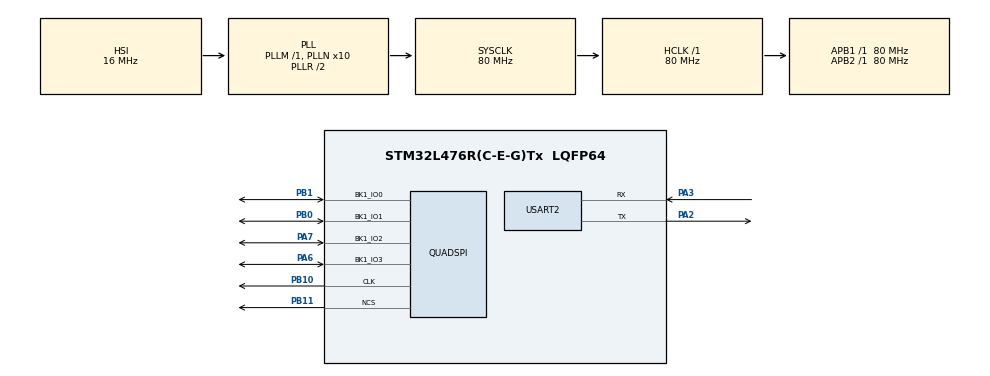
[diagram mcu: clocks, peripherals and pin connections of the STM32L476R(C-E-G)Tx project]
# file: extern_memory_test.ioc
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Mcu.Family=STM32L4
Mcu.Name=STM32L476R(C-E-G)Tx
Mcu.Package=LQFP64
NVIC.PriorityGroup=NVIC_PRIORITYGROUP_4
PA2.Mode=Asynchronous
PA2.Signal=USART2_TX
PA3.Mode=Asynchronous
PA3.Signal=USART2_RX
PA6.Mode=Single Bank
PA6.Signal=QUADSPI_BK1_IO3
PA7.Mode=Single Bank
PA7.Signal=QUADSPI_BK1_IO2
PB0.Mode=Single Bank
PB0.Signal=QUADSPI_BK1_IO1
PB1.Mode=Single Bank
PB1.Signal=QUADSPI_BK1_IO0
PB10.Mode=Single Bank
PB10.Signal=QUADSPI_CLK
PB11.Mode=Single Bank
PB11.Signal=QUADSPI_NCS
PB3\ (JTDO-TRACESWO).Signal=SPI1_SCK
PC14-OSC32_IN\ (PC14).Mode=LSE-External-Oscillator
PC14-OSC32_IN\ (PC14).Signal=RCC_OSC32_IN
PC15-OSC32_OUT\ (PC15).Mode=LSE-External-Oscillator
PC15-OSC32_OUT\ (PC15).Signal=RCC_OSC32_OUT
PH0-OSC_IN\ (PH0).Mode=HSE-External-Oscillator
PH0-OSC_IN\ (PH0).Signal=RCC_OSC_IN
PH1-OSC_OUT\ (PH1).Mode=HSE-External-Oscillator
PH1-OSC_OUT\ (PH1).Signal=RCC_OSC_OUT
ProjectManager.HeapSize=0x200
ProjectManager.StackSize=0x400
ProjectManager.TargetToolchain=Makefile
QUADSPI.ChipSelectHighTime-Single\ Bank=QSPI_CS_HIGH_TIME_3_CYCLE
QUADSPI.ClockPrescaler-Single\ Bank=0
QUADSPI.FifoThreshold-Single\ Bank=8
QUADSPI.FlashSize-Single\ Bank=25
QUADSPI.SampleShifting-Single\ Bank=QSPI_SAMPLE_SHIFTING_HALFCYCLE
RCC.ADCFreq_Value=64000000
RCC.AHBFreq_Value=80000000
RCC.APB1Freq_Value=80000000
RCC.APB1TimFreq_Value=80000000
RCC.APB2Freq_Value=80000000
RCC.APB2TimFreq_Value=80000000
RCC.CortexFreq_Value=80000000
RCC.HCLKFreq_Value=80000000
RCC.HSE_VALUE=16000000
RCC.HSI_VALUE=16000000
RCC.MSI_VALUE=4000000
RCC.PLLN=10
RCC.PLLSourceVirtual=RCC_PLLSOURCE_HSE
RCC.SYSCLKFreq_VALUE=80000000
RCC.SYSCLKSource=RCC_SYSCLKSOURCE_PLLCLK
RCC.USBFreq_Value=64000000
RCC.VCOOutputFreq_Value=160000000
USART2.VirtualMode-Asynchronous=VM_ASYNC
board=custom

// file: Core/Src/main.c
/* USER CODE BEGIN Header */
/**
  ******************************************************************************
  * @file           : main.c
  * @brief          : Main program body
  ******************************************************************************
  * @attention
  *
  * <h2><center>&copy; Copyright (c) 2021 STMicroelectronics.
  * All rights reserved.</center></h2>
  *
  * This software component is licensed by ST under BSD 3-Clause license,
  * the "License"; You may not use this file except in compliance with the
  * License. You may obtain a copy of the License at:
  *                        opensource.org/licenses/BSD-3-Clause
  *
  ******************************************************************************
  */
/* USER CODE END Header */
#include "main.h"
#include "test.h"
#include "command_set.h"
#include <stdio.h>
#include <string.h>
/* USER CODE BEGIN Includes */
int _write(int fd, char *pBuffer, int size)
{
    for (int i = 0; i < size; i++)
    {
        ITM_SendChar(pBuffer[i]);
    }
    return size;
}
/* USER CODE END Includes */

QSPI_HandleTypeDef hqspi;

UART_HandleTypeDef huart2;

/* USER CODE BEGIN PV */
uint32_t Q_WRITE_DUMMY_CYCLES = 4;
/* USER CODE END PV */

void SystemClock_Config(void);
static void MX_GPIO_Init(void);
static void MX_QUADSPI_Init(void);
static void MX_USART2_UART_Init(void);
void set_polling_config_WEL(QSPI_AutoPollingTypeDef *pollingConfig);
void check_status_register(QSPI_AutoPollingTypeDef *pollingConfig);
void set_polling_config_QE(QSPI_AutoPollingTypeDef *pollingConfig);

/* USER CODE BEGIN 0 */
void WREN()
{
    QSPI_CommandTypeDef command;
    command.InstructionMode = QSPI_INSTRUCTION_1_LINE;
    command.DdrMode = QSPI_DDR_MODE_DISABLE;
    command.DdrHoldHalfCycle = QSPI_DDR_HHC_ANALOG_DELAY;
    command.SIOOMode = QSPI_SIOO_INST_EVERY_CMD;

    command.Instruction = WRITE_ENABLE;
    command.Address = 0;
    command.AddressSize = 0;
    command.AddressMode = QSPI_ADDRESS_NONE;
    command.AlternateByteMode = QSPI_ALTERNATE_BYTES_NONE;
    command.AlternateBytesSize = 0;
    command.AlternateBytes = 0;
    command.DummyCycles = 0;
    command.DataMode = QSPI_DATA_NONE;
    command.NbData = 0;

    if (HAL_QSPI_Command(&hqspi, &command, HAL_QSPI_TIMEOUT_DEFAULT_VALUE) != HAL_OK)
    {
        Error_Handler();
    }
}

uint8_t RDSR()
{
    QSPI_CommandTypeDef command;
    command.InstructionMode = QSPI_INSTRUCTION_1_LINE;
    command.DdrMode = QSPI_DDR_MODE_DISABLE;
    command.DdrHoldHalfCycle = QSPI_DDR_HHC_ANALOG_DELAY;
    command.SIOOMode = QSPI_SIOO_INST_EVERY_CMD;

    command.Instruction = READ_STATUS_REG;
    command.Address = 0;
    command.AddressSize = 0;
    command.AddressMode = QSPI_ADDRESS_NONE;
    command.AlternateByteMode = QSPI_ALTERNATE_BYTES_NONE;
    command.AlternateBytesSize = 0;
    command.AlternateBytes = 0;
    command.DummyCycles = 0;
    command.DataMode = QSPI_DATA_1_LINE;
    command.NbData = 1;

    if (HAL_QSPI_Command(&hqspi, &command, HAL_QSPI_TIMEOUT_DEFAULT_VALUE) != HAL_OK)
    {
        Error_Handler();
    }

    uint8_t readReg = 0;
    if (HAL_QSPI_Receive(&hqspi, &readReg, HAL_QSPI_TIMEOUT_DEFAULT_VALUE) != HAL_OK)
    {
        Error_Handler();
    }
    return readReg;
}

void RDCR(uint8_t* configReg1, uint8_t* configReg2)
{
    QSPI_CommandTypeDef command;
    command.InstructionMode = QSPI_INSTRUCTION_1_LINE;
    command.DdrMode = QSPI_DDR_MODE_DISABLE;
    command.DdrHoldHalfCycle = QSPI_DDR_HHC_ANALOG_DELAY;
    command.SIOOMode = QSPI_SIOO_INST_EVERY_CMD;

    command.Instruction = READ_CONF_STATUS_REG;
    command.Address = 0;
    command.AddressSize = 0;
    command.AddressMode = QSPI_ADDRESS_NONE;
    command.AlternateByteMode = QSPI_ALTERNATE_BYTES_NONE;
    command.AlternateBytesSize = 0;
    command.AlternateBytes = 0;
    command.DummyCycles = 0;
    command.DataMode = QSPI_DATA_1_LINE;
    command.NbData = 2;

    if (HAL_QSPI_Command(&hqspi, &command, HAL_QSPI_TIMEOUT_DEFAULT_VALUE) != HAL_OK)
    {
        Error_Handler();
    }

    uint8_t configReg[2] = {0};
    if (HAL_QSPI_Receive(&hqspi, configReg, HAL_QSPI_TIMEOUT_DEFAULT_VALUE) != HAL_OK)
    {
        Error_Handler();
    }
    *configReg1 = configReg[0];
    *configReg2 = configReg[1];
}

void HpmDisable()
{
    QSPI_CommandTypeDef command;
    command.InstructionMode = QSPI_INSTRUCTION_1_LINE;
    command.DdrMode = QSPI_DDR_MODE_DISABLE;
    command.DdrHoldHalfCycle = QSPI_DDR_HHC_ANALOG_DELAY;
    command.SIOOMode = QSPI_SIOO_INST_EVERY_CMD;

    command.Instruction = WRITE_STATUS_REG;
    command.Address = 0;
    command.AddressSize = 0;
    command.AddressMode = QSPI_ADDRESS_NONE;
    command.AlternateByteMode = QSPI_ALTERNATE_BYTES_NONE;
    command.AlternateBytesSize = 0;
    command.AlternateBytes = 0;
    command.DummyCycles = 0;
    command.DataMode = QSPI_DATA_1_LINE;
    command.NbData = 1;

    uint8_t readReg = RDSR();

    if (HAL_QSPI_Command(&hqspi, &command, HAL_QSPI_TIMEOUT_DEFAULT_VALUE) != HAL_OK)
    {
        Error_Handler();
    }

    uint8_t reg = (readReg & 0b01111111) | 0b00000000;
    HAL_GPIO_WritePin(GPIOA, GPIO_PIN_6, GPIO_PIN_SET);
    HAL_GPIO_WritePin(GPIOA, GPIO_PIN_7, GPIO_PIN_SET);
    if (HAL_QSPI_Transmit(&hqspi, &reg, HAL_QSPI_TIMEOUT_DEFAULT_VALUE) != HAL_OK)
    {
        Error_Handler();
    }
}
void quad_enable()
{
    QSPI_CommandTypeDef command;
    command.InstructionMode = QSPI_INSTRUCTION_1_LINE;
    command.DdrMode = QSPI_DDR_MODE_DISABLE;
    command.DdrHoldHalfCycle = QSPI_DDR_HHC_ANALOG_DELAY;
    command.SIOOMode = QSPI_SIOO_INST_EVERY_CMD;

    command.Instruction = WRITE_STATUS_REG;
    command.Address = 0;
    command.AddressSize = 0;
    command.AddressMode = QSPI_ADDRESS_NONE;
    command.AlternateByteMode = QSPI_ALTERNATE_BYTES_NONE;
    command.AlternateBytesSize = 0;
    command.AlternateBytes = 0;
    command.DummyCycles = 0;
    command.DataMode = QSPI_DATA_1_LINE;
    command.NbData = 1;

    uint8_t readReg = RDSR();

    WREN();

    QSPI_AutoPollingTypeDef autoPollingConfig;
    set_polling_config_WEL(&autoPollingConfig);
    check_status_register(&autoPollingConfig);

    if (HAL_QSPI_Command(&hqspi, &command, HAL_QSPI_TIMEOUT_DEFAULT_VALUE) != HAL_OK)
    {
        Error_Handler();
    }

    uint8_t reg = (readReg & 0b10111111) | 0b01000000;
    if (HAL_QSPI_Transmit(&hqspi, &reg, HAL_QSPI_TIMEOUT_DEFAULT_VALUE) != HAL_OK)
    {
        Error_Handler();
    }

    set_polling_config_QE(&autoPollingConfig);
    check_status_register(&autoPollingConfig);

}
void MPBClear()
{
    QSPI_CommandTypeDef command;
    command.InstructionMode = QSPI_INSTRUCTION_1_LINE;
    command.DdrMode = QSPI_DDR_MODE_DISABLE;
    command.DdrHoldHalfCycle = QSPI_DDR_HHC_ANALOG_DELAY;
    command.SIOOMode = QSPI_SIOO_INST_EVERY_CMD;

    command.Instruction = WRITE_STATUS_REG;
    command.Address = 0;
    command.AddressSize = 0;
    command.AddressMode = QSPI_ADDRESS_NONE;
    command.AlternateByteMode = QSPI_ALTERNATE_BYTES_NONE;
    command.AlternateBytesSize = 0;
    command.AlternateBytes = 0;
    command.DummyCycles = 0;
    command.DataMode = QSPI_DATA_1_LINE;
    command.NbData = 1;

    uint8_t readReg = RDSR();

    if (HAL_QSPI_Command(&hqspi, &command, HAL_QSPI_TIMEOUT_DEFAULT_VALUE) != HAL_OK)
    {
        Error_Handler();
    }

    uint8_t reg = (readReg & 0b11000011) | 0b00000000;
    if (HAL_QSPI_Transmit(&hqspi, &reg, HAL_QSPI_TIMEOUT_DEFAULT_VALUE) != HAL_OK)
    {
        Error_Handler();
    }
}
void WRCR(uint8_t configReg1, uint8_t configReg2)
{
    QSPI_CommandTypeDef command;
    command.InstructionMode = QSPI_INSTRUCTION_1_LINE;
    command.DdrMode = QSPI_DDR_MODE_DISABLE;
    command.DdrHoldHalfCycle = QSPI_DDR_HHC_ANALOG_DELAY;
    command.SIOOMode = QSPI_SIOO_INST_EVERY_CMD;

    command.Instruction = WRITE_STATUS_REG;
    command.Address = 0;
    command.AddressSize = 0;
    command.AddressMode = QSPI_ADDRESS_NONE;
    command.AlternateByteMode = QSPI_ALTERNATE_BYTES_NONE;
    command.AlternateBytesSize = 0;
    command.AlternateBytes = 0;
    command.DummyCycles = 0;
    command.DataMode = QSPI_DATA_1_LINE;
    command.NbData = 3;

    uint8_t statusReg = RDSR();

    if (HAL_QSPI_Command(&hqspi, &command, HAL_QSPI_TIMEOUT_DEFAULT_VALUE) != HAL_OK)
    {
        Error_Handler();
    }

    uint8_t inputReg[3] = {statusReg, configReg1, configReg2};
    if (HAL_QSPI_Transmit(&hqspi, inputReg, HAL_QSPI_TIMEOUT_DEFAULT_VALUE) != HAL_OK)
    {
        Error_Handler();
    }
}
// status reg SRWD|QE|BP3|BP2|BP1|BP0|WEL|WIP
void set_polling_config_WEL(QSPI_AutoPollingTypeDef *pollingConfig)
{
    pollingConfig->Match = 0x02;
    pollingConfig->Mask = 0x02;
    pollingConfig->Interval = 1;
    pollingConfig->StatusBytesSize = 1;
    pollingConfig->MatchMode = QSPI_MATCH_MODE_AND;
    pollingConfig->AutomaticStop = QSPI_AUTOMATIC_STOP_ENABLE;
}

// status reg SRWD|QE|BP3|BP2|BP1|BP0|WEL|WIP
void set_polling_config_WIP(QSPI_AutoPollingTypeDef *pollingConfig)
{
    pollingConfig->Match = 0x00;
    pollingConfig->Mask = 0x01;
    pollingConfig->Interval = 1;
    pollingConfig->StatusBytesSize = 1;
    pollingConfig->MatchMode = QSPI_MATCH_MODE_AND;
    pollingConfig->AutomaticStop = QSPI_AUTOMATIC_STOP_ENABLE;
}

// status reg SRWD|QE|BP3|BP2|BP1|BP0|WEL|WIP
void set_polling_config_SRWD(QSPI_AutoPollingTypeDef *pollingConfig)
{
    pollingConfig->Match = 0x00;
    pollingConfig->Mask = 0x80;
    pollingConfig->Interval = 1;
    pollingConfig->StatusBytesSize = 1;
    pollingConfig->MatchMode = QSPI_MATCH_MODE_AND;
    pollingConfig->AutomaticStop = QSPI_AUTOMATIC_STOP_ENABLE;
}

// status reg SRWD|QE|BP3|BP2|BP1|BP0|WEL|WIP
void set_polling_config_QE(QSPI_AutoPollingTypeDef *pollingConfig)
{
    pollingConfig->Match = 0x40;
    pollingConfig->Mask = 0x40;
    pollingConfig->Interval = 1;
    pollingConfig->StatusBytesSize = 1;
    pollingConfig->MatchMode = QSPI_MATCH_MODE_AND;
    pollingConfig->AutomaticStop = QSPI_AUTOMATIC_STOP_ENABLE;
}

void check_status_register(QSPI_AutoPollingTypeDef *pollingConfig)
{
    QSPI_CommandTypeDef command;
    command.InstructionMode = QSPI_INSTRUCTION_1_LINE;
    command.DdrMode = QSPI_DDR_MODE_DISABLE;
    command.DdrHoldHalfCycle = QSPI_DDR_HHC_ANALOG_DELAY;
    command.SIOOMode = QSPI_SIOO_INST_EVERY_CMD;

    command.Instruction = READ_STATUS_REG;
    command.Address = 0;
    command.AddressSize = 0;
    command.AddressMode = QSPI_ADDRESS_NONE;
    command.AlternateByteMode = QSPI_ALTERNATE_BYTES_NONE;
    command.AlternateBytesSize = 0;
    command.AlternateBytes = 0;
    command.DummyCycles = 0;
    command.DataMode = QSPI_DATA_1_LINE;
    command.NbData = 0;

    if (HAL_QSPI_AutoPolling(&hqspi, &command, pollingConfig, HAL_QSPI_TIMEOUT_DEFAULT_VALUE) != HAL_OK)
    {
        Error_Handler();
    }
}

// sector erase
void SE(uint32_t address)
{
    QSPI_CommandTypeDef command;
    command.InstructionMode = QSPI_INSTRUCTION_1_LINE;
    command.DdrMode = QSPI_DDR_MODE_DISABLE;
    command.DdrHoldHalfCycle = QSPI_DDR_HHC_ANALOG_DELAY;
    command.SIOOMode = QSPI_SIOO_INST_EVERY_CMD;

    command.Instruction = SECTOR_ERASE;
    command.Address = address;
    command.AddressSize = QSPI_ADDRESS_24_BITS;
    command.AddressMode = QSPI_ADDRESS_1_LINE;
    command.AlternateByteMode = QSPI_ALTERNATE_BYTES_NONE;
    command.AlternateBytesSize = 0;
    command.AlternateBytes = 0;
    command.DummyCycles = 0;
    command.DataMode = QSPI_DATA_NONE;
    command.NbData = 0;

    if (HAL_QSPI_Command(&hqspi, &command, HAL_QSPI_TIMEOUT_DEFAULT_VALUE) != HAL_OK)
    {
        Error_Handler();
    }
}

void PP(uint32_t address, uint8_t *data, uint32_t dataSize)
{
    QSPI_CommandTypeDef command;
    command.InstructionMode = QSPI_INSTRUCTION_1_LINE;
    command.DdrMode = QSPI_DDR_MODE_DISABLE;
    command.DdrHoldHalfCycle = QSPI_DDR_HHC_ANALOG_DELAY;
    command.SIOOMode = QSPI_SIOO_INST_EVERY_CMD;

    command.Instruction = QUAL_PAGE_PROGRAM;
    command.Address = address;
    command.AddressSize = QSPI_ADDRESS_24_BITS;
    command.AddressMode = QSPI_ADDRESS_4_LINES;
    command.AlternateByteMode = QSPI_ALTERNATE_BYTES_NONE;
    command.AlternateBytesSize = 0;
    command.AlternateBytes = 0;
    command.DummyCycles = 0;
    command.DataMode = QSPI_DATA_4_LINES;
    command.NbData = dataSize;

    if (HAL_QSPI_Command(&hqspi, &command, HAL_QSPI_TIMEOUT_DEFAULT_VALUE) != HAL_OK)
    {
        Error_Handler();
    }

    if (HAL_QSPI_Transmit(&hqspi, data, HAL_QSPI_TIMEOUT_DEFAULT_VALUE) != HAL_OK)
    {
        Error_Handler();
    }
}

void FREAD(uint32_t address, uint8_t *data, uint32_t dataSize)
{
    QSPI_CommandTypeDef command;
    command.InstructionMode = QSPI_INSTRUCTION_1_LINE;
    command.DdrMode = QSPI_DDR_MODE_DISABLE;
    command.DdrHoldHalfCycle = QSPI_DDR_HHC_ANALOG_DELAY;
    command.SIOOMode = QSPI_SIOO_INST_EVERY_CMD;

    command.Instruction = FOUR_READ;
    command.Address = address;
    command.AddressSize = QSPI_ADDRESS_24_BITS;
    command.AddressMode = QSPI_ADDRESS_4_LINES;
    command.AlternateByteMode = QSPI_ALTERNATE_BYTES_4_LINES;
    command.AlternateBytesSize = QSPI_ALTERNATE_BYTES_8_BITS;
    command.AlternateBytes = 0xf0;
    command.DummyCycles = Q_WRITE_DUMMY_CYCLES;
    command.DataMode = QSPI_DATA_4_LINES;
    command.NbData = dataSize;

    if (HAL_QSPI_Command(&hqspi, &command, HAL_QSPI_TIMEOUT_DEFAULT_VALUE) != HAL_OK)
    {
        Error_Handler();
    }

    if (HAL_QSPI_Receive(&hqspi, data, HAL_QSPI_TIMEOUT_DEFAULT_VALUE) != HAL_OK)
    {
        Error_Handler();
    }
}
/* USER CODE END 0 */

int main(void)
{

    /* MCU Configuration--------------------------------------------------------*/

    /* Reset of all peripherals, Initializes the Flash interface and the Systick. */
    HAL_Init();

    /* Configure the system clock */
    SystemClock_Config();

    /* Initialize all configured peripherals */
    MX_GPIO_Init();
    MX_QUADSPI_Init();
    MX_USART2_UART_Init();

    QSPI_AutoPollingTypeDef autoPollingConfig;
    uint8_t statusReg = RDSR();
    uint8_t configReg1 = 0;
    uint8_t configReg2 = 0;
    RDCR(&configReg1, &configReg2);
    // memory go into hardware protected mode(HDM), disable HDM
    if (statusReg & 0b10000000) {
        WREN();
        set_polling_config_WEL(&autoPollingConfig);
        check_status_register(&autoPollingConfig);

        HpmDisable();
        statusReg = RDSR();
    }
    // block is
    if (statusReg & 0b00111100) {
        WREN();
        set_polling_config_WEL(&autoPollingConfig);
        check_status_register(&autoPollingConfig);
        MPBClear();
        statusReg = RDSR();
    }
    if ((configReg1 & 0b01000000) == 0) {
        WREN();
        set_polling_config_WEL(&autoPollingConfig);
        check_status_register(&autoPollingConfig);
        WRCR((configReg1 & 0b01000000) | 0b01000000, configReg2); // dummy cycle = 6 = 2 + 4
        RDCR(&configReg1, &configReg2);
    }
    if ((configReg2 & 0b00000010) == 0) {
        WREN();
        set_polling_config_WEL(&autoPollingConfig);
        check_status_register(&autoPollingConfig);
        WRCR(configReg1, (configReg2 & 0b00000010) | 0b00000010); // hight profermence mode
        HAL_Delay(30);
        RDCR(&configReg1, &configReg2);
    }
    if ((configReg1 & 0b01000000) != 0) {
        Q_WRITE_DUMMY_CYCLES = 8;
    } else {
        Q_WRITE_DUMMY_CYCLES = 4;
    }

    printf("status reg is now:%x\n", statusReg);

    quad_enable();
    statusReg = RDSR();
    printf("status reg quad enable is now:%x\n", statusReg);
    RDCR(&configReg1, &configReg2);
    printf("config reg1 %x, reg2 %x", configReg1, configReg2);
    int writeTest = 0;
    if (writeTest == 1) {
        WREN();
        set_polling_config_WEL(&autoPollingConfig);
        check_status_register(&autoPollingConfig);

        SE(0x123456);
        set_polling_config_WIP(&autoPollingConfig);
        check_status_register(&autoPollingConfig);

        WREN();
        set_polling_config_WEL(&autoPollingConfig);
        check_status_register(&autoPollingConfig);

        uint8_t testData[] = "another test data data 3";
        PP(0x123456, testData, sizeof(testData));
        set_polling_config_WIP(&autoPollingConfig);
        check_status_register(&autoPollingConfig);
    } else {
        printf("write disable\n");
    }
    char t = get_test_char(0);
    uint8_t outData[255] = {0};
    FREAD(0x123456, outData, sizeof(outData) - 1);
    printf("read data:%s\n", outData);

    /* Infinite loop */
    /* USER CODE BEGIN WHILE */
    while (1)
    {
        // memset(outData, 0, sizeof(outData));
        // FREAD(0x123456, outData, sizeof(outData) - 1);
        // printf("output data\n");
        // printf("read data:%s\n", outData);
        // HAL_Delay(1000);
    }
}

void SystemClock_Config(void)
{
    RCC_OscInitTypeDef RCC_OscInitStruct = {0};
    RCC_ClkInitTypeDef RCC_ClkInitStruct = {0};
    RCC_PeriphCLKInitTypeDef PeriphClkInit = {0};

    /** Initializes the RCC Oscillators according to the specified parameters
  * in the RCC_OscInitTypeDef structure.
  */
    RCC_OscInitStruct.OscillatorType = RCC_OSCILLATORTYPE_HSI;
    RCC_OscInitStruct.HSIState = RCC_HSI_ON;
    RCC_OscInitStruct.PLL.PLLState = RCC_PLL_ON;
    RCC_OscInitStruct.PLL.PLLSource = RCC_PLLSOURCE_HSI;
    RCC_OscInitStruct.PLL.PLLM = 1;
    RCC_OscInitStruct.PLL.PLLN = 10;
    RCC_OscInitStruct.PLL.PLLP = RCC_PLLP_DIV7;
    RCC_OscInitStruct.PLL.PLLQ = RCC_PLLQ_DIV2;
    RCC_OscInitStruct.PLL.PLLR = RCC_PLLR_DIV2;
    if (HAL_RCC_OscConfig(&RCC_OscInitStruct) != HAL_OK)
    {
        Error_Handler();
    }
    /** Initializes the CPU, AHB and APB buses clocks
  */
    RCC_ClkInitStruct.ClockType = RCC_CLOCKTYPE_HCLK | RCC_CLOCKTYPE_SYSCLK | RCC_CLOCKTYPE_PCLK1 | RCC_CLOCKTYPE_PCLK2;
    RCC_ClkInitStruct.SYSCLKSource = RCC_SYSCLKSOURCE_PLLCLK;
    RCC_ClkInitStruct.AHBCLKDivider = RCC_SYSCLK_DIV1;
    RCC_ClkInitStruct.APB1CLKDivider = RCC_HCLK_DIV1;
    RCC_ClkInitStruct.APB2CLKDivider = RCC_HCLK_DIV1;

    if (HAL_RCC_ClockConfig(&RCC_ClkInitStruct, FLASH_LATENCY_4) != HAL_OK)
    {
        Error_Handler();
    }
    PeriphClkInit.PeriphClockSelection = RCC_PERIPHCLK_USART2;
    PeriphClkInit.Usart2ClockSelection = RCC_USART2CLKSOURCE_PCLK1;
    if (HAL_RCCEx_PeriphCLKConfig(&PeriphClkInit) != HAL_OK)
    {
        Error_Handler();
    }
    HAL_RCC_MCOConfig(RCC_MCO1, RCC_MCO1SOURCE_SYSCLK, RCC_MCODIV_1);
    /** Configure the main internal regulator output voltage
  */
    if (HAL_PWREx_ControlVoltageScaling(PWR_REGULATOR_VOLTAGE_SCALE1) != HAL_OK)
    {
        Error_Handler();
    }
}

static void MX_QUADSPI_Init(void)
{

    /* QUADSPI parameter configuration*/
    hqspi.Instance = QUADSPI;
    hqspi.Init.ClockPrescaler = 1;                              // ClockPrescaler = 0,QSPI clock = FAHB / 1 = 80MHz / 1 = 80MHz
    hqspi.Init.FifoThreshold = 1;                               // FIFO when 8 more bytes written or read
    hqspi.Init.SampleShifting = QSPI_SAMPLE_SHIFTING_HALFCYCLE; // don't sample the data read from memory half-clock cycle later
    hqspi.Init.FlashSize = 25;                                  // flash size = 2**(25+1) = 2**26 = 67108864 = 64 Mbytes
    hqspi.Init.ChipSelectHighTime = QSPI_CS_HIGH_TIME_1_CYCLE;  // the read and wirte command should CS# high in 30ns
    hqspi.Init.ClockMode = QSPI_CLOCK_MODE_0;                   // clock stay low bwteen two command
    if (HAL_QSPI_Init(&hqspi) != HAL_OK)
    {
        Error_Handler();
    }
}

static void MX_USART2_UART_Init(void)
{

    huart2.Instance = USART2;
    huart2.Init.BaudRate = 115200;
    huart2.Init.WordLength = UART_WORDLENGTH_8B;
    huart2.Init.StopBits = UART_STOPBITS_1;
    huart2.Init.Parity = UART_PARITY_NONE;
    huart2.Init.Mode = UART_MODE_TX_RX;
    huart2.Init.HwFlowCtl = UART_HWCONTROL_NONE;
    huart2.Init.OverSampling = UART_OVERSAMPLING_16;
    huart2.Init.OneBitSampling = UART_ONE_BIT_SAMPLE_DISABLE;
    huart2.AdvancedInit.AdvFeatureInit = UART_ADVFEATURE_NO_INIT;
    if (HAL_UART_Init(&huart2) != HAL_OK)
    {
        Error_Handler();
    }
}

static void MX_GPIO_Init(void)
{
    /* GPIO Ports Clock Enable */
    __HAL_RCC_GPIOC_CLK_ENABLE();
    __HAL_RCC_GPIOH_CLK_ENABLE();
    __HAL_RCC_GPIOA_CLK_ENABLE();
    __HAL_RCC_GPIOB_CLK_ENABLE();
}

void Error_Handler(void)
{
}

/************************ (C) COPYRIGHT STMicroelectronics *****END OF FILE****/
